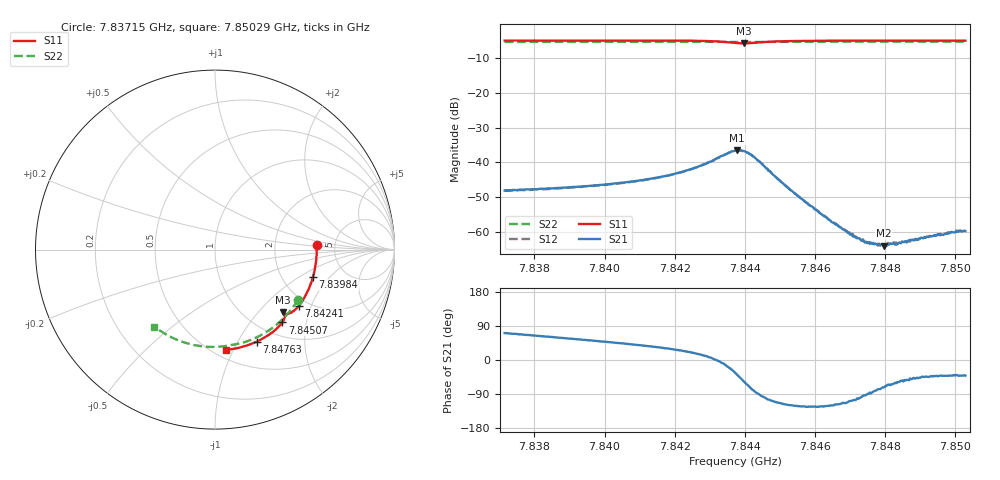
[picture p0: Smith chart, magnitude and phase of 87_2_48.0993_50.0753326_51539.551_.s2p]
#  HZ  S  RI  R  50.00
! Rohde & Schwarz Vector Network Analyzer
! Rohde-Schwarz,ZNB20-2Port,1311601062101988,3.16
! Created: UTC 12/23/2023, 3:43:22 AM
! freq[Hz]  re:S11  im:S11  re:S21  im:S21  re:S12  im:S12  re:S22  im:S22
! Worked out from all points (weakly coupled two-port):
!   401 points, 7.83715 GHz to 7.85029 GHz, reference 50 ohm
!   highest |S21| = -36.50 dB at 7.84379 GHz (marker M1); lowest = -63.9 dB at 7.84796 GHz (marker M2)
!   lowest |S11| = -5.8 dB at 7.84398 GHz (marker M3), VSWR 3.13, Z = 72.7 - j68.9 ohm
!   |S11| at or under -10 dB: nowhere
!   |S22| runs from -5.4 to -5.3 dB; largest |S21 - S12| = 0.00029
!   S11 on the Smith chart (normalised r, x): 7.83715 GHz: 3.59, +0.27; 7.83984 GHz: 2.96, -1.33; 7.84241 GHz: 1.80, -1.64; 7.84507 GHz: 1.25, -1.46; 7.84763 GHz: 0.80, -1.20; 7.85029 GHz: 0.57, -0.94
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7.837151e9  0.5658 0.0255  0.00129 0.00374  0.0013 0.00369  0.4618 -0.2794
7.839351e9  0.5541 -0.1205  0.00268 0.00363  0.00262 0.00359  0.3648 -0.3987
7.839844e9  0.5461 -0.1525  0.00308 0.00358  0.00304 0.00356  0.3387 -0.4213
7.841552e9  0.5019 -0.2606  0.00512 0.00338  0.00508 0.00333  0.2381 -0.486
7.842406e9  0.4679 -0.3119  0.0073 0.00282  0.00725 0.00284  0.1829 -0.5096
7.843227e9  0.4191 -0.3536  0.0116 -0.000336  0.0116 -0.00038  0.1272 -0.5254
7.843719e9  0.3841 -0.3558  0.0125 -0.00807  0.0123 -0.00797  0.0943 -0.5309
7.843785e9  0.3815 -0.3538  0.0116 -0.00948  0.0115 -0.00925  0.0899 -0.5315
7.843982e9  0.3802 -0.3481  0.00772 -0.0123  0.00785 -0.0122  0.0776 -0.5335
7.844245e9  0.3873 -0.3521  0.0021 -0.012  0.0021 -0.0119  0.0609 -0.5366
7.845066e9  0.3744 -0.4058  -0.00216 -0.00461  -0.00221 -0.00462  0.00364 -0.5427
7.84592e9  0.3322 -0.4506  -0.00126 -0.00194  -0.00129 -0.00193  -0.0566 -0.5407
7.846413e9  0.3047 -0.4715  -0.000769 -0.00128  -0.000764 -0.00126  -0.0911 -0.5365
7.847135e9  0.2627 -0.4974  -0.000236 -0.000824  -0.000243 -0.000818  -0.1408 -0.5259
7.847365e9  0.2489 -0.5047  -6.21e-05 -0.000772  -0.000105 -0.000773  -0.1563 -0.5217
7.847628e9  0.2327 -0.5125  5.32e-05 -0.00069  4.35e-05 -0.000674  -0.1739 -0.5163
7.847956e9  0.2126 -0.5214  0.000198 -0.000604  0.000205 -0.000631  -0.1956 -0.5087
7.84812e9  0.2023 -0.5253  0.000282 -0.000612  0.000226 -0.000621  -0.2063 -0.5044
7.84835e9  0.1878 -0.5307  0.000354 -0.000568  0.000349 -0.000586  -0.2214 -0.4982
7.848712e9  0.1649 -0.5383  0.00051 -0.000576  0.00046 -0.000562  -0.2444 -0.4875
7.849927e9  0.0859 -0.5561  0.000746 -0.000655  0.000731 -0.000654  -0.3176 -0.4443
7.850288e9  0.0621 -0.5592  0.000774 -0.000679  0.000822 -0.000688  -0.338 -0.4292
